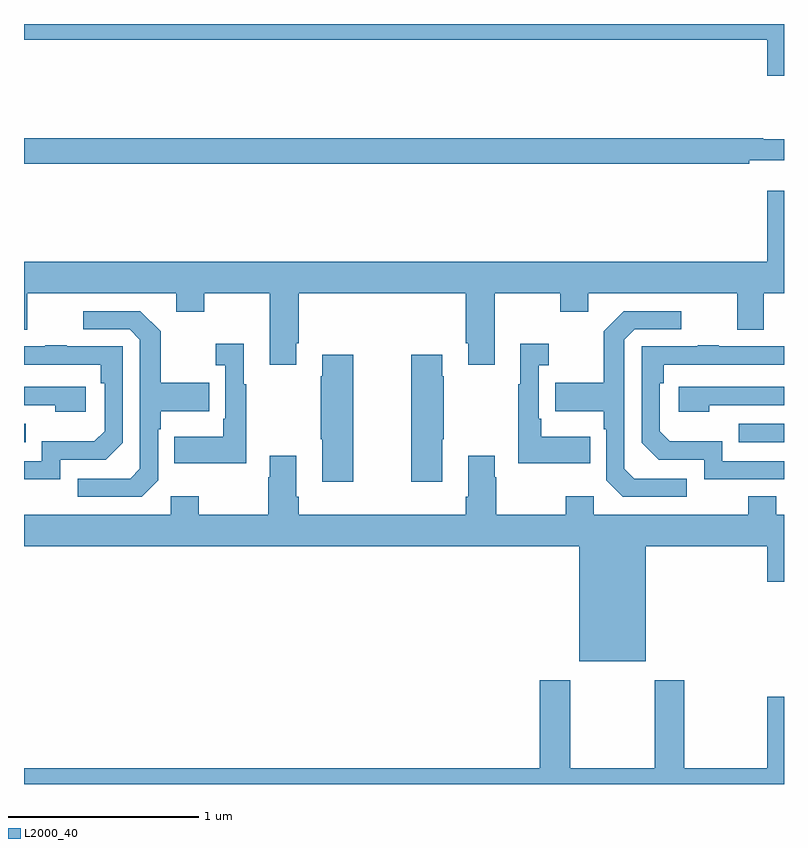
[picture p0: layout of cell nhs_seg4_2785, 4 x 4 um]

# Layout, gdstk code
import gdstk
lib = gdstk.Library(unit=1e-6, precision=1e-09)
def R(c, l, rs):  # rectangles x0, y0, x1, y1
    for r in rs: c.add(gdstk.rectangle(r[:2], r[2:], *l))
def P(c, l, *ps):  # polygons
    for p in ps: c.add(gdstk.Polygon(p, *l))
L2000_40 = (2000, 40)

nhs_seg4_2785 = lib.new_cell('nhs_seg4_2785')
R(nhs_seg4_2785, L2000_40, [(257,798.699,257.009,798.795), (260.761,798.699,261,798.795)])
P(nhs_seg4_2785, L2000_40, [(261,800.9),(257,800.9),(257,800.816),(260.912,800.816),(260.912,800.628),(261,800.628)],
  [(260.816,800.183),(261,800.183),(261,800.293),(260.89,800.293),(260.89,800.3),(257,800.3),(257,800.164),(260.816,800.164)],
  [(258.433,799.219),(258.446,799.219),(258.446,799.484),(259.325,799.484),(259.325,799.219),(259.337,799.219),(259.337,799.107),(259.477,799.107),(259.477,799.484),(259.822,799.484),(259.822,799.385),(259.969,799.385),(259.969,799.484),(260.753,799.484),(260.753,799.29),(260.893,799.29),(260.893,799.484),(261,799.484),(261,800.023),(260.912,800.023),(260.912,799.648),(257,799.648),(257,799.29),(257.017,799.29),(257.017,799.484),(257.801,799.484),(257.801,799.385),(257.949,799.385),(257.949,799.484),(258.293,799.484),(258.293,799.107),(258.433,799.107)],
  [(257.706,798.498),(257.706,798.767),(257.719,798.767),(257.719,798.863),(257.975,798.863),(257.975,799.011),(257.719,799.011),(257.719,799.283),(257.613,799.389),(257.313,799.389),(257.313,799.293),(257.556,799.293),(257.61,799.239),(257.61,798.558),(257.559,798.507),(257.283,798.507),(257.283,798.411),(257.619,798.411)],
  [(260.488,798.507),(260.211,798.507),(260.16,798.558),(260.16,799.239),(260.214,799.293),(260.458,799.293),(260.458,799.389),(260.157,799.389),(260.052,799.283),(260.052,799.011),(259.795,799.011),(259.795,798.863),(260.052,798.863),(260.052,798.767),(260.064,798.767),(260.064,798.498),(260.151,798.411),(260.488,798.411)],
  [(259.979,798.727),(259.723,798.727),(259.723,798.823),(259.71,798.823),(259.71,799.103),(259.762,799.103),(259.762,799.216),(259.613,799.216),(259.613,799.003),(259.602,799.003),(259.602,798.587),(259.979,798.587)],
  [(258.169,799.003),(258.157,799.003),(258.157,799.216),(258.009,799.216),(258.009,799.103),(258.06,799.103),(258.06,798.823),(258.048,798.823),(258.048,798.727),(257.791,798.727),(257.791,798.587),(258.169,798.587)],
  [(261,798.6),(260.676,798.6),(260.676,798.703),(260.399,798.703),(260.346,798.756),(260.346,799.01),(260.366,799.01),(260.366,799.107),(261,799.107),(261,799.203),(260.657,799.203),(260.657,799.208),(260.545,799.208),(260.545,799.203),(260.25,799.203),(260.25,798.696),(260.34,798.606),(260.58,798.606),(260.58,798.504),(261,798.504)],
  [(257.19,798.606),(257.43,798.606),(257.52,798.696),(257.52,799.203),(257.225,799.203),(257.225,799.208),(257.113,799.208),(257.113,799.203),(257,799.203),(257,799.107),(257.404,799.107),(257.404,799.01),(257.424,799.01),(257.424,798.756),(257.371,798.703),(257.094,798.703),(257.094,798.6),(257,798.6),(257,798.504),(257.19,798.504)],
  [(259.201,798.715),(259.209,798.715),(259.209,799.046),(259.201,799.046),(259.201,799.159),(259.039,799.159),(259.039,798.492),(259.201,798.492)],
  [(258.732,799.159),(258.569,799.159),(258.569,799.046),(258.562,799.046),(258.562,798.715),(258.569,798.715),(258.569,798.492),(258.732,798.492)],
  [(260.606,798.894),(261,798.894),(261,798.99),(260.445,798.99),(260.445,798.86),(260.606,798.86)],
  [(257.326,798.99),(257,798.99),(257,798.894),(257.165,798.894),(257.165,798.86),(257.326,798.86)],
  [(260.272,798.152),(260.912,798.152),(260.912,797.964),(261,797.964),(261,798.316),(260.959,798.316),(260.959,798.415),(260.812,798.415),(260.812,798.316),(259.998,798.316),(259.998,798.415),(259.852,798.415),(259.852,798.316),(259.485,798.316),(259.485,798.515),(259.477,798.515),(259.477,798.628),(259.337,798.628),(259.337,798.412),(259.325,798.412),(259.325,798.316),(258.446,798.316),(258.446,798.412),(258.433,798.412),(258.433,798.628),(258.293,798.628),(258.293,798.515),(258.286,798.515),(258.286,798.316),(257.919,798.316),(257.919,798.415),(257.772,798.415),(257.772,798.316),(257,798.316),(257,798.152),(259.922,798.152),(259.922,797.546),(260.272,797.546)],
  [(261,797.359),(260.912,797.359),(260.912,796.984),(260.475,796.984),(260.475,797.446),(260.32,797.446),(260.32,796.984),(259.875,796.984),(259.875,797.446),(259.715,797.446),(259.715,796.984),(257,796.984),(257,796.9),(261,796.9)])

lib.write_gds('nhs_seg4_2785.gds')
